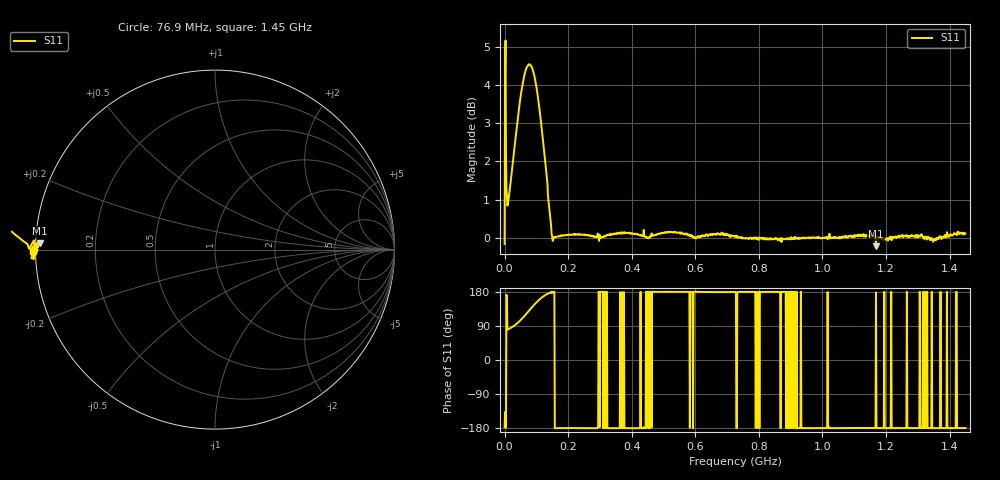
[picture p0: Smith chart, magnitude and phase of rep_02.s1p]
! Created with skrf 1.11.0 (http://scikit-rf.org).
# Hz S RI R 50.0
!freq ReS11 ImS11
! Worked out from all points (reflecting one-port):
!   1001 points, 50 kHz to 1.45 GHz, reference 50 ohm
!   lowest |S11| = -0.2 dB at 1.169 GHz (marker M1), VSWR 78.78, Z = 0.635 + j0.923 ohm
!   phase of S11 starts at -177 deg and turns -2 deg over the sweep
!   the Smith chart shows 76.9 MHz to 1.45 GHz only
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50000  -0.98 -0.0484
8749700  0.1918 1.085
1.019965e7  0.1806 1.092
1.16496e7  0.1682 1.104
1.599945e7  0.1353 1.145
2.61491e7  0.0397 1.256
3.629875e7  -0.1083 1.366
4.64484e7  -0.3106 1.455
5.51481e7  -0.525 1.486
6.38478e7  -0.7581 1.457
7.399745e7  -1.019 1.338
8.7047e7  -1.276 1.071
9.86466e7  -1.386 0.777
1.073463e8  -1.39 0.5635
1.17496e8  -1.334 0.3528
1.261956e8  -1.259 0.215
1.363453e8  -1.132 0.0998
1.45045e8  -1.046 0.0327
1.522948e8  -0.9897 0.0374
1.812938e8  -1.007 -0.00508
3.625375e8  -1.013 -0.00219
5.437812e8  -1.015 0.00559
7.25025e8  -1.003 0.00906
9.062688e8  -0.9977 -0.00297
1.087512e9  -1.006 -0.00989
1.16871e9  -0.9743 0.036
1.268756e9  -1.006 -0.0139
1.45e9  -1.013 -0.00955
